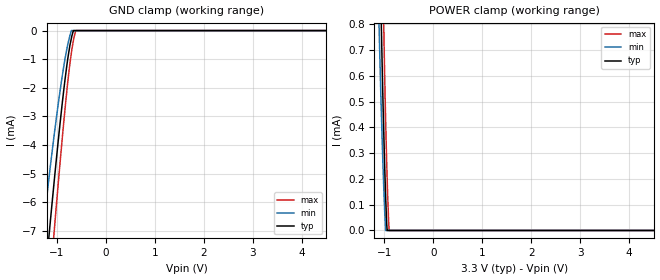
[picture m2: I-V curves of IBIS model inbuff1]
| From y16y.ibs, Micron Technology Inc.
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|   MODEL INBUFF1
[Model]   inbuff1
Model_type   Input
Vinl = 800.000mV
Vinh = 2.000V
|   typ   min   max
C_comp   1.860pF   1.600pF   2.260pF
[Voltage Range]   3.300V   3.000V   3.600V
| Junction Temperature (Ambient temp is 25C typ, 70C min, 0C max)
[Temperature Range]   40.0   85.0   0.0
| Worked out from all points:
|   GND clamp passes 1 mA (typ) near -0.78 V on its own axis
|   POWER clamp passes 1 mA (typ) near -1.08 V on its own axis
[GND Clamp]
|   Voltage   I(typ)   I(min)   I(max)
-3.3V     -307.4mA   -315.2mA   -304.8mA
-1.29V    -9.644mA   -7.29mA    -12.08mA
-1.25V    -8.891mA   -6.554mA   -11.22mA
-1.13V    -6.674mA   -4.744mA   -8.655mA
-1.05V    -5.246mA   -3.631mA   -6.992mA
-930mV    -3.22mA    -2.09mA    -4.593mA
-830mV    -1.708mA   -986.4uA   -2.734mA
-770mV    -936.2uA   -450uA     -1.733mA
-690mV    -182.2uA   0A         -645.3uA
-660mV    0A         0A         NA
-610mV    0A         0A         0A
6.6V      0A         0A         0A
[POWER Clamp]
|   Voltage   I(typ)   I(min)   I(max)
-3.3V     42.31mA    34.24mA    48.37mA
-1.11V    1.321mA    831.9uA    2.038mA
-1.09V    1.106mA    678.5uA    1.763mA
-1.07V    903.2uA    534.6uA    1.499mA
-1.05V    714.5uA    401.7uA    1.249mA
-1.01V    384.4uA    171.2uA    795.2uA
-970mV    127.4uA    0A         419.6uA
-950mV    28.76uA    0A         266.6uA
-940mV    0A         0A         NA
-910mV    0A         0A         37.4uA
-900mV    0A         0A         0A
6.6V      0A         0A         0A
